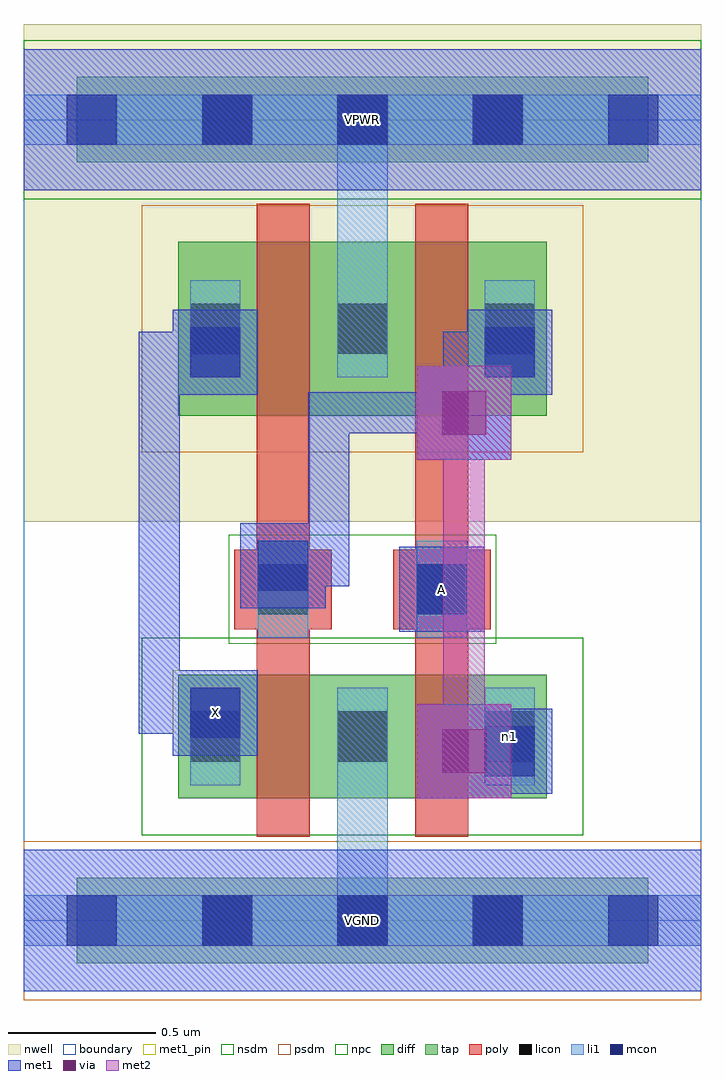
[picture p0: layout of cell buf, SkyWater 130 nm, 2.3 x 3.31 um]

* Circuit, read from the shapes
.subckt buf A VGND VPWR X n1
XM1 VGND n1 X VGND sky130_fd_pr__nfet_01v8 w=0.42 l=0.18
XM2 n1 A VGND VGND sky130_fd_pr__nfet_01v8 w=0.42 l=0.18
XM3 VPWR n1 X VPWR sky130_fd_pr__pfet_01v8 w=0.59 l=0.18
XM4 n1 A VPWR VPWR sky130_fd_pr__pfet_01v8 w=0.59 l=0.18
.ends

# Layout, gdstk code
import gdstk
lib = gdstk.Library(unit=1e-6, precision=1e-09)
def R(c, l, rs):  # rectangles x0, y0, x1, y1
    for r in rs: c.add(gdstk.rectangle(r[:2], r[2:], *l))
def A(c, l, x, y, w, h, nx, ny, dx, dy):  # array of equal rectangles
    R(c, l, [(x+i*dx, y+j*dy, x+i*dx+w, y+j*dy+h) for i in range(nx) for j in range(ny)])
nwell = (64, 20)
diff = (65, 20)
tap = (65, 44)
poly = (66, 20)
licon = (66, 44)
li1 = (67, 20)
mcon = (67, 44)
met1_pin = (68, 16)
met1 = (68, 20)
via = (68, 44)
met2 = (69, 20)
nsdm = (93, 44)
psdm = (94, 20)
npc = (95, 20)
boundary = (235, 4)

buf = lib.new_cell('buf')
R(buf, nwell, [(0,1.355,2.3,3.045)])
R(buf, diff, [(0.525,0.415,1.775,0.835), (0.525,1.715,1.775,2.305)])
R(buf, tap, [(0.18,-0.145,2.12,0.145), (0.18,2.575,2.12,2.865)])
R(buf, poly, [(0.79,0.285,0.97,2.435), (1.33,0.285,1.51,2.435), (0.715,0.99,1.045,1.26), (1.255,0.99,1.585,1.26)])
A(buf, licon, 0.605, -0.085, 0.17, 0.17, 3, 2, 0.46, 2.72)
A(buf, licon, 0.565, 0.54, 0.17, 0.17, 3, 2, 0.5, 1.385)
R(buf, licon, [(0.795,1.04,0.965,1.21), (1.335,1.04,1.505,1.21)])
A(buf, li1, 0.565, 0.46, 0.17, 0.33, 3, 2, 0.5, 1.385)
R(buf, li1, [(0,-0.085,2.3,0.085), (1.065,-0.085,1.235,0.79), (0.795,0.96,0.965,1.29), (1.335,0.96,1.505,1.29), (1.065,1.845,1.235,2.805), (0,2.635,2.3,2.805)])
A(buf, mcon, 0.145, -0.085, 0.17, 0.17, 5, 2, 0.46, 2.72)
R(buf, mcon, [(1.565,0.49,1.735,0.66), (0.565,0.62,0.735,0.79), (1.335,1.04,1.505,1.21), (0.795,1.12,0.965,1.29), (0.565,1.845,0.735,2.015), (1.565,1.845,1.735,2.015)])
R(buf, met1_pin, [(0,-0.24,2.3,0.24), (0.505,0.56,0.795,0.85), (1.275,0.98,1.565,1.27), (0,2.48,2.3,2.96)])
R(buf, met1, [(0,-0.24,2.3,0.24), (1.335,0.415,1.655,0.735), (1.505,0.43,1.795,0.72), (1.425,0.505,1.72,0.645), (0.505,0.56,0.795,0.85), (0.39,0.635,0.72,0.775), (0.39,0.635,0.53,0.875), (0.39,0.735,0.53,1.91), (1.275,0.98,1.565,1.27), (0.735,1.06,1.025,1.35), (0.81,1.135,1.105,1.275), (0.965,1.135,1.105,1.45), (0.965,1.31,1.105,1.795), (1.335,1.565,1.655,1.885), (0.965,1.655,1.565,1.795), (1.425,1.655,1.565,1.91), (0.39,1.77,0.53,2), (1.425,1.77,1.565,2), (0.505,1.785,0.795,2.075), (1.505,1.785,1.795,2.075), (0.39,1.86,0.72,2), (1.425,1.86,1.72,2), (0,2.48,2.3,2.96)])
R(buf, via, [(1.42,0.5,1.57,0.65), (1.42,1.65,1.57,1.8)])
R(buf, met2, [(1.335,0.415,1.655,0.735), (1.425,0.505,1.565,1.795), (1.335,1.565,1.655,1.885)])
R(buf, nsdm, [(0.4,0.29,1.9,0.96), (0,2.45,2.3,2.99)])
R(buf, psdm, [(0,-0.27,2.3,0.27), (0.4,1.59,1.9,2.43)])
R(buf, npc, [(0.695,0.94,1.605,1.31)])
R(buf, boundary, [(0,0,2.3,2.72)])
buf.add(gdstk.Label('n1', (1.65,0.625), layer=67, texttype=5))
buf.add(gdstk.Label('A', (1.42,1.125), layer=68, texttype=5))
buf.add(gdstk.Label('X', (0.65,0.705), layer=68, texttype=5))
buf.add(gdstk.Label('VPWR', (1.15,2.72), layer=68, texttype=5))
buf.add(gdstk.Label('VGND', (1.15,0), layer=68, texttype=5))
buf.add(gdstk.Label('A', (1.42,1.125), layer=68, texttype=16))
buf.add(gdstk.Label('X', (0.65,0.705), layer=68, texttype=16))
buf.add(gdstk.Label('VPWR', (1.15,2.72), layer=68, texttype=16))
buf.add(gdstk.Label('VGND', (1.15,0), layer=68, texttype=16))

lib.write_gds('buf.gds')
